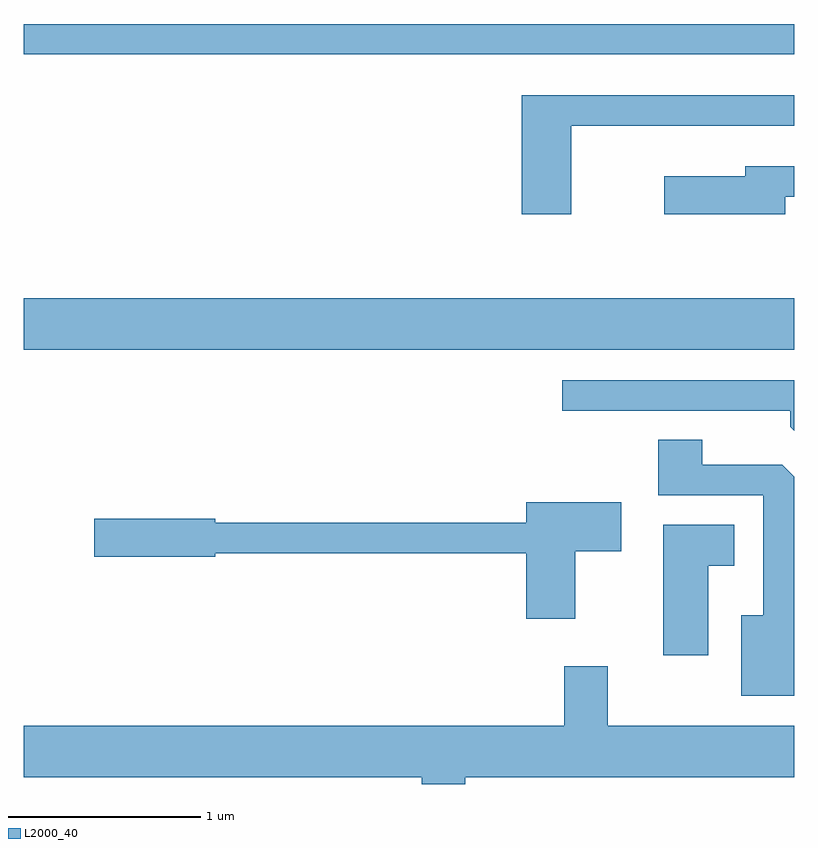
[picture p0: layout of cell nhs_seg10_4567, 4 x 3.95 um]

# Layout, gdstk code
import gdstk
lib = gdstk.Library(unit=1e-6, precision=1e-09)
def R(c, l, rs):  # rectangles x0, y0, x1, y1
    for r in rs: c.add(gdstk.rectangle(r[:2], r[2:], *l))
def P(c, l, *ps):  # polygons
    for p in ps: c.add(gdstk.Polygon(p, *l))
L2000_40 = (2000, 40)

nhs_seg10_4567 = lib.new_cell('nhs_seg10_4567')
R(nhs_seg10_4567, L2000_40, [(319.611,2142.776,323.611,2143.044), (319.611,2144.311,323.611,2144.469)])
P(nhs_seg10_4567, L2000_40, [(322.454,2143.941),(323.611,2143.941),(323.611,2144.099),(322.196,2144.099),(322.196,2143.481),(322.454,2143.481)],
  [(323.564,2143.571),(323.611,2143.571),(323.611,2143.729),(323.356,2143.729),(323.356,2143.679),(322.936,2143.679),(322.936,2143.481),(323.564,2143.481)],
  [(323.611,2142.619),(322.408,2142.619),(322.408,2142.461),(323.591,2142.461),(323.591,2142.377),(323.611,2142.357)],
  [(323.611,2142.117),(323.549,2142.179),(323.134,2142.179),(323.134,2142.309),(322.906,2142.309),(322.906,2142.021),(323.451,2142.021),(323.451,2141.399),(323.336,2141.399),(323.336,2140.981),(323.611,2140.981)],
  [(322.474,2141.731),(322.714,2141.731),(322.714,2141.984),(322.221,2141.984),(322.221,2141.879),(320.604,2141.879),(320.604,2141.899),(319.976,2141.899),(319.976,2141.701),(320.604,2141.701),(320.604,2141.721),(322.221,2141.721),(322.221,2141.381),(322.474,2141.381)],
  [(323.164,2141.656),(323.299,2141.656),(323.299,2141.869),(322.931,2141.869),(322.931,2141.191),(323.164,2141.191)],
  [(321.904,2140.556),(323.611,2140.556),(323.611,2140.824),(322.644,2140.824),(322.644,2141.134),(322.416,2141.134),(322.416,2140.824),(319.611,2140.824),(319.611,2140.556),(321.676,2140.556),(321.676,2140.522),(321.904,2140.522)])

lib.write_gds('nhs_seg10_4567.gds')
